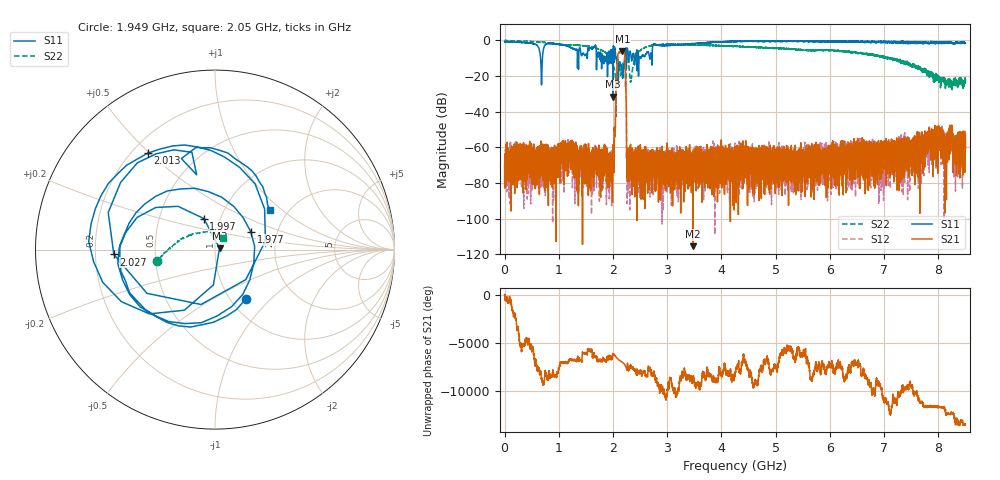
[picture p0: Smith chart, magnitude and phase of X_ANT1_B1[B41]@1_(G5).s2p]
#  HZ  S  RI  R  50.00
! Rohde & Schwarz Vector Network Analyzer
! Rohde-Schwarz,ZNBT8-20Port,1318700624101681,3.50
! Created: UTC 7/15/2025, 2:09:59 PM
! freq[Hz]  re:S1010  im:S1010  re:S0610  im:S0610  re:S1006  im:S1006  re:S66  im:S66
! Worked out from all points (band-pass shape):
!   8500 points, 1 MHz to 8.5 GHz, reference 50 ohm
!   highest |S21| = -6.15 dB at 2.173 GHz (marker M1); lowest = -115.4 dB at 3.474 GHz (marker M2)
!   |S21| within 3 dB of the highest: 2.086 GHz to 2.219 GHz (133.1 MHz wide, 6.18 % of centre)
!   lowest |S11| = -31.6 dB at 1.998 GHz (marker M3), VSWR 1.05, Z = 52.6 + j0.845 ohm
!   |S11| at or under -10 dB: 663.8 MHz to 698.6 MHz (34.8 MHz wide, 5.11 % of centre); 2.059 GHz to 2.214 GHz (154.7 MHz wide, 7.24 % of centre); 2.389 GHz to 2.408 GHz (19.22 MHz wide, 0.801 % of centre)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
!   |S22| runs from -42.7 to -0.1 dB; largest |S21 - S12| = 0.023
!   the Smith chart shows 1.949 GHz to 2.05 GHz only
!   S11 on the Smith chart (normalised r, x): 1.949 GHz: 1.18, -0.72; 1.977 GHz: 1.46, +0.30; 1.997 GHz: 0.83, +0.30; 2.013 GHz: 0.26, +0.49; 2.027 GHz: 0.28, -0.02; 2.05 GHz: 1.61, +0.83
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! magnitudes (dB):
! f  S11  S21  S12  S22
! 1 MHz  -0.9  -70.0  -70.6  -0.2
! 676 MHz  -17.8  -61.5  -71.3  -1.1
! 804 MHz  -1.8  -71.0  -73.7  -1.5
! 1.418 GHz  -8.6  -62.8  -76.5  -2.9
! 1.949 GHz  -9.8  -68.8  -74.2  -9.6
! 1.977 GHz  -13.0  -75.4  -69.8  -11.4
! 1.997 GHz  -14.7  -67.5  -65.5  -13.1
! 1.998 GHz  -31.6  -65.2  -66.8  -13.2
! 2.013 GHz  -3.7  -67.1  -62.9  -14.7
! 2.027 GHz  -5.0  -50.0  -48.7  -16.7
! 2.05 GHz  -8.5  -32.8  -33.0  -21.7
! 2.095 GHz  -23.6  -7.5  -7.5  -13.2
! 2.173 GHz  -19.7  -6.2  -6.3  -12.4
! 2.206 GHz  -13.4  -6.9  -6.8  -13.3
! 2.294 GHz  -9.7  -79.5  -64.1  -14.4
! 2.834 GHz  -2.8  -69.9  -68.1  -2.5
! 3.474 GHz  -2.0  -115.4  -64.9  -2.6
! 4.251 GHz  -0.6  -66.4  -65.7  -3.6
! 5.667 GHz  -0.4  -58.0  -65.4  -5.8
! 7.084 GHz  -0.8  -56.2  -63.8  -10.0
! 8.007 GHz  -1.5  -49.4  -55.5  -22.6
! 8.5 GHz  -1.8  -60.3  -59.5  -21.6
